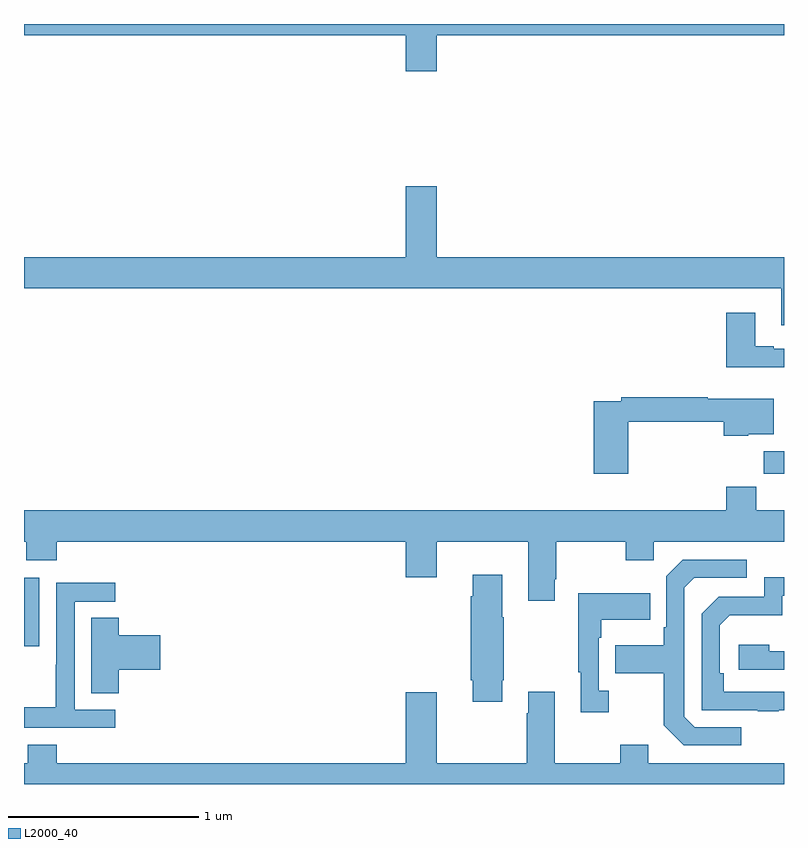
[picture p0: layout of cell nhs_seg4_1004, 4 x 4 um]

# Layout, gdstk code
import gdstk
lib = gdstk.Library(unit=1e-6, precision=1e-09)
def R(c, l, rs):  # rectangles x0, y0, x1, y1
    for r in rs: c.add(gdstk.rectangle(r[:2], r[2:], *l))
def P(c, l, *ps):  # polygons
    for p in ps: c.add(gdstk.Polygon(p, *l))
L2000_40 = (2000, 40)

nhs_seg4_1004 = lib.new_cell('nhs_seg4_1004')
R(nhs_seg4_1004, L2000_40, [(163,773.625,163.081,773.986), (166.894,774.534,167,774.652)])
P(nhs_seg4_1004, L2000_40, [(165.172,776.84),(167,776.84),(167,776.9),(163,776.9),(163,776.84),(165.008,776.84),(165.008,776.652),(165.172,776.652)],
  [(167,775.672),(165.172,775.672),(165.172,776.047),(165.008,776.047),(165.008,775.672),(163,775.672),(163,775.508),(166.985,775.508),(166.985,775.314),(167,775.314)],
  [(167,775.191),(166.945,775.191),(166.945,775.204),(166.849,775.204),(166.849,775.381),(166.697,775.381),(166.697,775.094),(167,775.094)],
  [(166.181,774.807),(166.682,774.807),(166.682,774.734),(166.812,774.734),(166.812,774.74),(166.945,774.74),(166.945,774.928),(166.598,774.928),(166.598,774.935),(166.144,774.935),(166.144,774.915),(165.998,774.915),(165.998,774.534),(166.181,774.534)],
  [(165.793,773.977),(165.801,773.977),(165.801,774.176),(166.168,774.176),(166.168,774.077),(166.314,774.077),(166.314,774.176),(167,774.176),(167,774.34),(166.853,774.34),(166.853,774.464),(166.697,774.464),(166.697,774.34),(163,774.34),(163,774.176),(163.012,774.176),(163.012,774.077),(163.172,774.077),(163.172,774.176),(165.008,774.176),(165.008,773.988),(165.172,773.988),(165.172,774.176),(165.653,774.176),(165.653,773.865),(165.793,773.865)],
  [(166.774,773.199),(166.53,773.199),(166.476,773.253),(166.476,773.934),(166.527,773.985),(166.804,773.985),(166.804,774.081),(166.467,774.081),(166.38,773.994),(166.38,773.725),(166.368,773.725),(166.368,773.629),(166.111,773.629),(166.111,773.482),(166.368,773.482),(166.368,773.209),(166.473,773.103),(166.774,773.103)],
  [(165.517,773.446),(165.525,773.446),(165.525,773.777),(165.517,773.777),(165.517,774.001),(165.362,774.001),(165.362,773.888),(165.35,773.888),(165.35,773.446),(165.362,773.446),(165.362,773.334),(165.517,773.334)],
  [(166.973,773.289),(167,773.289),(167,773.385),(166.682,773.385),(166.682,773.482),(166.662,773.482),(166.662,773.736),(166.715,773.789),(166.992,773.789),(166.992,773.892),(167,773.892),(167,773.988),(166.896,773.988),(166.896,773.886),(166.656,773.886),(166.566,773.796),(166.566,773.289),(166.861,773.289),(166.861,773.284),(166.973,773.284)],
  [(163.48,773.292),(163.266,773.292),(163.266,773.859),(163.48,773.859),(163.48,773.958),(163.17,773.958),(163.17,773.528),(163.168,773.528),(163.168,773.305),(163,773.305),(163,773.196),(163.48,773.196)],
  [(166.078,773.39),(166.026,773.39),(166.026,773.669),(166.039,773.669),(166.039,773.765),(166.295,773.765),(166.295,773.905),(165.918,773.905),(165.918,773.489),(165.929,773.489),(165.929,773.277),(166.078,773.277)],
  [(163.499,773.501),(163.717,773.501),(163.717,773.684),(163.499,773.684),(163.499,773.774),(163.355,773.774),(163.355,773.377),(163.499,773.377)],
  [(167,773.598),(166.922,773.598),(166.922,773.632),(166.761,773.632),(166.761,773.502),(167,773.502)],
  [(167,773.008),(166.285,773.008),(166.285,773.107),(166.138,773.107),(166.138,773.008),(165.793,773.008),(165.793,773.386),(165.653,773.386),(165.653,773.273),(165.646,773.273),(165.646,773.008),(165.172,773.008),(165.172,773.383),(165.008,773.383),(165.008,773.008),(163.172,773.008),(163.172,773.107),(163.019,773.107),(163.019,773.008),(163,773.008),(163,772.9),(167,772.9)])

lib.write_gds('nhs_seg4_1004.gds')
